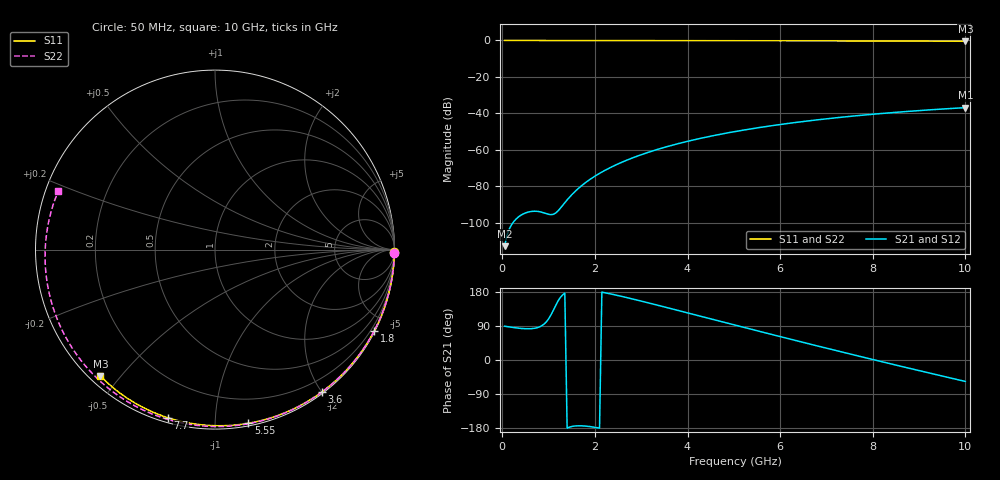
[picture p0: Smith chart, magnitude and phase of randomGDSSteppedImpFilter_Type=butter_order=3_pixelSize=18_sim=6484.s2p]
! freq	dB(S11)	phase(S11)	dB(S12)	phase(S12)
!  dB(S21)	phase(S21)	dB(S22)	phase(S22)
!S-par simulation data
#  GHz  S  DB  R 50
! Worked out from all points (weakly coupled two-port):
!   200 points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, 50 MHz to 10 GHz, reference 50 ohm
!   highest |S21| = -36.89 dB at 10 GHz (marker M1); lowest = -112.9 dB at 50 MHz (marker M2)
!   lowest |S11| = -0.4 dB at 10 GHz (marker M3), VSWR 39.19, Z = 1.53 - j22.2 ohm
!   |S11| at or under -10 dB: nowhere
!   |S22| runs from -0.6 to 0.0 dB; largest |S21 - S12| = 0
!   S11 on the Smith chart (normalised r, x): 50 MHz: open; 1.8 GHz: 0.04, -4.15; 3.6 GHz: 0.02, -2.01; 5.55 GHz: 0.02, -1.21; 7.7 GHz: 0.02, -0.76; 10 GHz: 0.03, -0.44
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0.05  -0.00 -0.8  -112.93 89.2  -112.93 89.2  -0.00 -1.2
0.45  -0.01 -6.8  -95.25 82.9  -95.25 82.9  -0.01 -10.4
0.85  -0.02 -12.9  -94.27 90.3  -94.27 90.3  -0.03 -19.6
1.25  -0.02 -18.9  -92.22 164.4  -92.22 164.4  -0.04 -28.7
1.7  -0.03 -25.6  -79.99 -173.7  -79.99 -173.7  -0.05 -38.8
1.75  -0.03 -26.3  -78.96 -174.0  -78.96 -174.0  -0.05 -39.9
1.8  -0.03 -27.1  -77.98 -174.4  -77.98 -174.4  -0.05 -41.0
2.1  -0.04 -31.5  -72.96 -179.7  -72.96 -179.7  -0.06 -47.6
2.5  -0.05 -37.3  -67.77 170.1  -67.77 170.1  -0.07 -56.3
2.9  -0.06 -43.1  -63.64 158.5  -63.64 158.5  -0.08 -64.8
3.4  -0.07 -50.2  -59.44 143.2  -59.44 143.2  -0.10 -75.1
3.6  -0.07 -53.0  -57.99 136.9  -57.99 136.9  -0.11 -79.2
4.3  -0.09 -62.6  -53.63 114.9  -53.63 114.9  -0.13 -93.1
5.05  -0.11 -72.6  -49.90 91.3  -49.90 91.3  -0.16 -107.5
5.55  -0.13 -79.1  -47.81 75.7  -47.81 75.7  -0.19 -116.9
6.1  -0.15 -86.1  -45.79 58.7  -45.79 58.7  -0.22 -127.0
6.7  -0.18 -93.6  -43.88 40.3  -43.88 40.3  -0.26 -137.9
7.2  -0.21 -99.6  -42.47 25.1  -42.47 25.1  -0.30 -147.0
7.7  -0.24 -105.6  -41.21 10.2  -41.21 10.2  -0.35 -156.1
8.35  -0.29 -113.3  -39.76 -9.1  -39.76 -9.1  -0.41 -168.1
9.2  -0.36 -123.1  -38.14 -33.8  -38.14 -33.8  -0.51 175.7
10  -0.44 -132.2  -36.89 -56.6  -36.89 -56.6  -0.61 159.6
